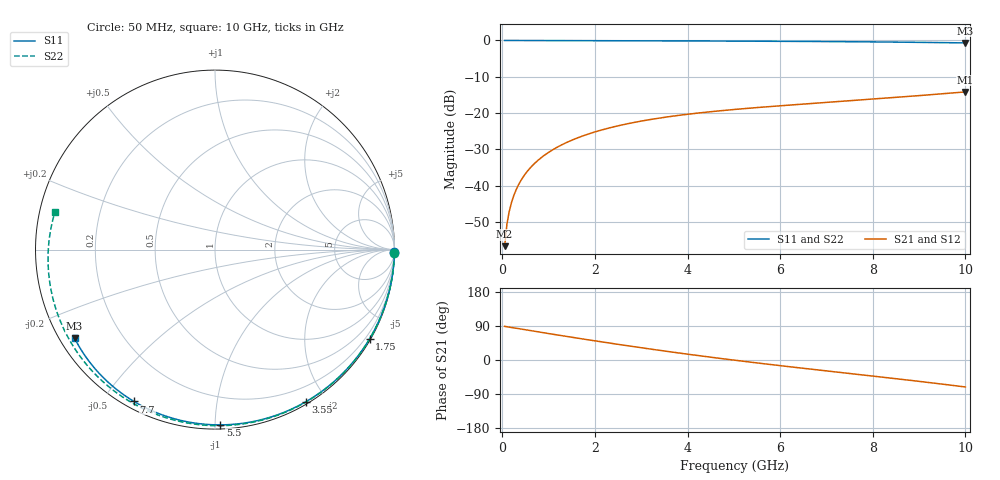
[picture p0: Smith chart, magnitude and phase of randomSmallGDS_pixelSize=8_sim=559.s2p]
! freq	dB(S11)	phase(S11)	dB(S12)	phase(S12)
!  dB(S21)	phase(S21)	dB(S22)	phase(S22)
!S-par simulation data
#  GHz  S  DB  R 50
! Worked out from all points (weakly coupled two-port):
!   200 points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, 50 MHz to 10 GHz, reference 50 ohm
!   highest |S21| = -14.18 dB at 10 GHz (marker M1); lowest = -56.7 dB at 50 MHz (marker M2)
!   lowest |S11| = -0.7 dB at 10 GHz (marker M3), VSWR 25.68, Z = 2.11 - j14.4 ohm
!   |S11| at or under -10 dB: nowhere
!   |S22| runs from -0.8 to 0.0 dB; largest |S21 - S12| = 0
!   S11 on the Smith chart (normalised r, x): 50 MHz: open; 1.75 GHz: 0.04, -3.73; 3.55 GHz: 0.03, -1.76; 5.5 GHz: 0.02, -1.03; 7.7 GHz: 0.03, -0.60; 10 GHz: 0.04, -0.29
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0.05  -0.00 -0.9  -56.69 88.8  -56.69 88.8  -0.00 -1.2
0.1  -0.00 -1.8  -50.65 87.7  -50.65 87.7  -0.00 -2.3
0.15  -0.00 -2.6  -47.10 86.7  -47.10 86.7  -0.00 -3.4
0.2  -0.01 -3.5  -44.60 85.8  -44.60 85.8  -0.01 -4.6
0.25  -0.01 -4.4  -42.68 84.9  -42.68 84.9  -0.01 -5.7
0.35  -0.01 -6.1  -39.78 82.8  -39.78 82.8  -0.01 -8.0
0.5  -0.01 -8.7  -36.72 79.8  -36.72 79.8  -0.02 -11.4
0.7  -0.02 -12.1  -33.85 75.7  -33.85 75.7  -0.02 -15.9
1  -0.03 -17.3  -30.84 69.7  -30.84 69.7  -0.03 -22.6
1.35  -0.04 -23.3  -28.35 62.9  -28.35 62.9  -0.04 -30.4
1.75  -0.05 -30.0  -26.26 55.2  -26.26 55.2  -0.06 -39.1
2.6  -0.08 -44.1  -23.24 39.5  -23.24 39.5  -0.09 -57.2
3.4  -0.11 -56.9  -21.37 25.4  -21.37 25.4  -0.13 -73.4
3.55  -0.11 -59.2  -21.09 22.9  -21.09 22.9  -0.13 -76.4
4.3  -0.14 -70.7  -19.90 10.6  -19.90 10.6  -0.17 -90.9
5.05  -0.18 -81.8  -18.97 -1.1  -18.97 -1.1  -0.21 -104.8
5.5  -0.20 -88.2  -18.49 -7.7  -18.49 -7.7  -0.24 -112.9
6.7  -0.28 -104.8  -17.36 -24.7  -17.36 -24.7  -0.33 -133.9
7.7  -0.36 -118.1  -16.46 -38.3  -16.46 -38.3  -0.42 -151.2
8.35  -0.43 -126.6  -15.85 -47.2  -15.85 -47.2  -0.50 -162.6
9.2  -0.55 -137.5  -15.00 -59.2  -15.00 -59.2  -0.62 -177.9
10  -0.68 -147.8  -14.18 -71.2  -14.18 -71.2  -0.76 166.9
